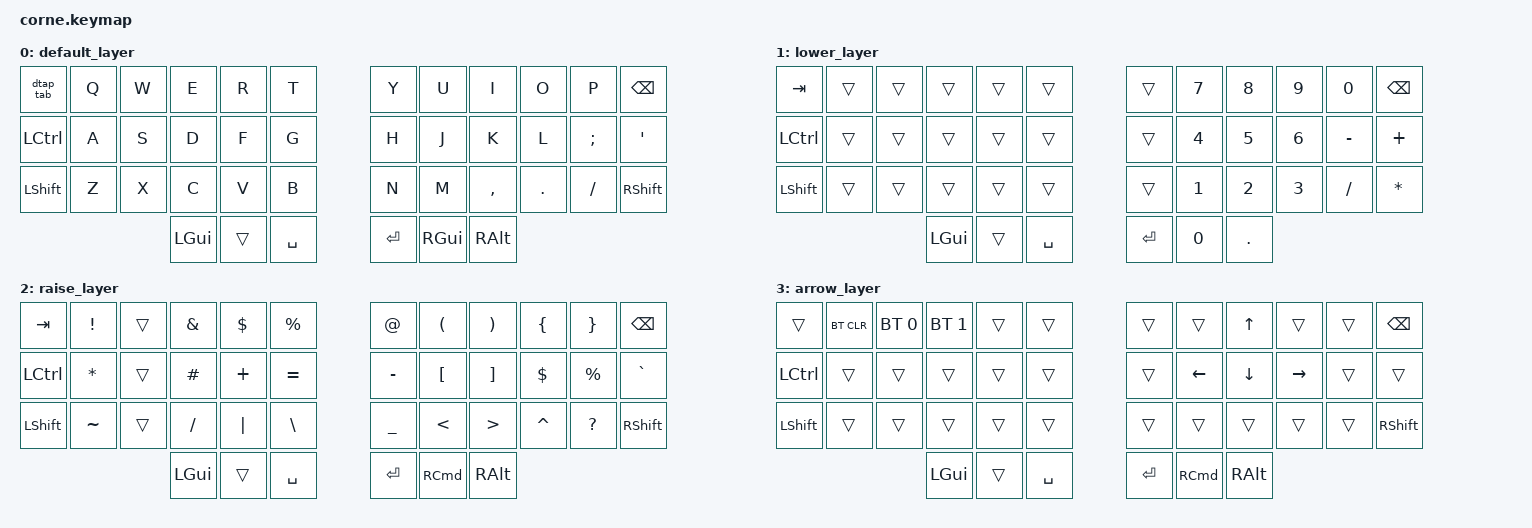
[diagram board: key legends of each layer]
#include <behaviors.dtsi>
#include <dt-bindings/zmk/bt.h>
#include <dt-bindings/zmk/keys.h>

/ {
    behaviors {
        /* 
        * 1. DTAP_TAB: Al pulsar una vez envía TAB, al pulsar dos veces rápidamente envía ESC.
        */

        dtap_tab: dtap_tab {
            compatible = "zmk,behavior-tap-dance";
            #binding-cells = <0>;
            tapping-term-ms = <500>;
            bindings = <&kp TAB>, <&kp ESC>, <&kp ESC>;
        };

        /*
        * 2. SCREENSHOT_MACRO: Al pulsar esta tecla se envía la combinación Command+Control+Shift+4
        *    para captura de pantalla en macOS.
        */

        screenshot_macro: screenshot_macro {
            compatible = "zmk,behavior-macro";
            #binding-cells = <0>;
            label = "Screenshot";
            tap-ms = <0>;
            bindings = <&kp LGUI &kp LCTRL &kp LSHIFT &kp N4>;
        };
    };

    combos {
        compatible = "zmk,combos";

        layer_a {
            bindings = <&lt 1 LC(A)>;
            key-positions = <13 37>;
            timeout-ms = <500>;
            layers = <0>;
        };

        layer_s {
            bindings = <&lt 2 LC(S)>;
            key-positions = <14 37>;
            layers = <0>;
            timeout-ms = <300>;
        };

        layer_d {
            bindings = <&lt 3 LC(D)>;
            key-positions = <15 37>;
            layers = <0>;
            timeout-ms = <200>;
        };

        screenshot {
            bindings = <&kp LGUI &kp LCTRL &kp LSHIFT &kp N4>;
            key-positions = <37 4>;
            slow-release;
            layers = <0>;
            timeout-ms = <500>;
        };
    };

    macros {
    };

    keymap {
        compatible = "zmk,keymap";

        default_layer {
            // -----------------------------------------------------------------------------------------
            // |esctab|  Q  |  W  |  E  |  R  |  T  |   |  Y  |  U   |  I  |  O  |  P  | BSPC |
            // | CTRL |  A  |  S  |  D  |  F  |  G  |   |  H  |  J   |  K  |  L  |  ;  |  '   |
            // | SHFT |  Z  |  X  |  C  |  V  |  B  |   |  N  |  M   |  ,  |  .  |  /  | ESC  |
            //                    | GUI |     | SPC |   | ENT | CTRL | ALT |

            bindings = <
&dtap_tab  &kp Q  &kp W  &kp E     &kp R   &kp T        &kp Y    &kp U     &kp I      &kp O    &kp P     &kp BSPC
&kp LCTRL  &kp A  &kp S  &kp D     &kp F   &kp G        &kp H    &kp J     &kp K      &kp L    &kp SEMI  &kp SQT
&kp LSHFT  &kp Z  &kp X  &kp C     &kp V   &kp B        &kp N    &kp M     &kp COMMA  &kp DOT  &kp FSLH  &kp RIGHT_SHIFT
                         &kp LGUI  &trans  &kp SPACE    &kp RET  &kp RGUI  &kp RALT
            >;
        };

        lower_layer {
            // -----------------------------------------------------------------------------------------
            // |  TAB |     |     |     |     |     |   |     |  7  |  8  |  9  |  0  | BSPC |
            // | BTCLR| BT1 | BT2 | BT3 | BT4 | BT5 |   | LFT |  4  |  5  |  6  |     |      |
            // | SHFT |     |     |     |     |     |   |     |  1  |  2  |  3  |  /  |   *  |
            //                    | GUI |     | SPC |   | ENT |  0  |  .  |

            bindings = <
&kp TAB           &trans  &trans  &trans    &trans  &trans       &trans   &kp N7  &kp N8   &kp N9  &kp N0     &kp BSPC
&kp LEFT_CONTROL  &trans  &trans  &trans    &trans  &trans       &trans   &kp N4  &kp N5   &kp N6  &kp MINUS  &kp PLUS
&kp LSHFT         &trans  &trans  &trans    &trans  &trans       &trans   &kp N1  &kp N2   &kp N3  &kp FSLH   &kp ASTRK
                                  &kp LGUI  &trans  &kp SPACE    &kp RET  &kp N0  &kp DOT
            >;
        };

        raise_layer {
            // -----------------------------------------------------------------------------------------
            // |  TAB |  !  |  @  |  #  |  $  |  %  |   |  ^  |  &  |  *  |  (  |  )  | BSPC |
            // | CTRL |     |     |     |     |     |   |  -  |  =  |  [  |  ]  |  \  |  `   |
            // | SHFT |     |     |     |     |     |   |  _  |  +  |  {  |  }  | "|" |  ~   |
            //                    | GUI |     | SPC |   | ENT |     | ALT |

            bindings = <
&kp TAB           &kp EXCL      &trans  &kp AMPERSAND  &kp DLLR  &kp PRCNT        &kp AT     &kp LEFT_PARENTHESIS  &kp RIGHT_PARENTHESIS  &kp LEFT_BRACE  &kp RIGHT_BRACE  &kp BSPC
&kp LEFT_CONTROL  &kp ASTERISK  &trans  &kp HASH       &kp PLUS  &kp EQUAL        &kp MINUS  &kp LEFT_BRACKET      &kp RIGHT_BRACKET      &kp DOLLAR      &kp PERCENT      &kp GRAVE
&kp LEFT_SHIFT    &kp TILDE     &trans  &kp SLASH      &kp PIPE  &kp BACKSLASH    &kp UNDER  &kp LESS_THAN         &kp GREATER_THAN       &kp CARET       &kp QUESTION     &kp RIGHT_SHIFT
                                        &kp LGUI       &trans    &kp SPACE        &kp RET    &kp RIGHT_COMMAND     &kp RALT
            >;
        };

        arrow_layer: arrow_layer {
            // -----------------------------------------------------------------------------------------
            // |    |     |     |     |     |     |   |     |     | up |     |     | BSPC |
            // |    |     |     |     |     |     |   |     | left|down|right|     |      |
            // |    |     |     |     |     |     |   |     |     |    |     |     |      |
            //                    | GUI |     | SPC |   | ENT |     | ALT |

            bindings = <
&trans            &bt BT_CLR  &bt BT_SEL 0  &bt BT_SEL 1  &trans  &trans       &trans   &trans             &kp UP    &trans     &trans  &kp BACKSPACE
&kp LEFT_CONTROL  &trans      &trans        &trans        &trans  &trans       &trans   &kp LEFT           &kp DOWN  &kp RIGHT  &trans  &trans
&kp LEFT_SHIFT    &trans      &trans        &trans        &trans  &trans       &trans   &trans             &trans    &trans     &trans  &kp RIGHT_SHIFT
                                            &kp LGUI      &trans  &kp SPACE    &kp RET  &kp RIGHT_COMMAND  &kp RALT
            >;
        };
    };
};
